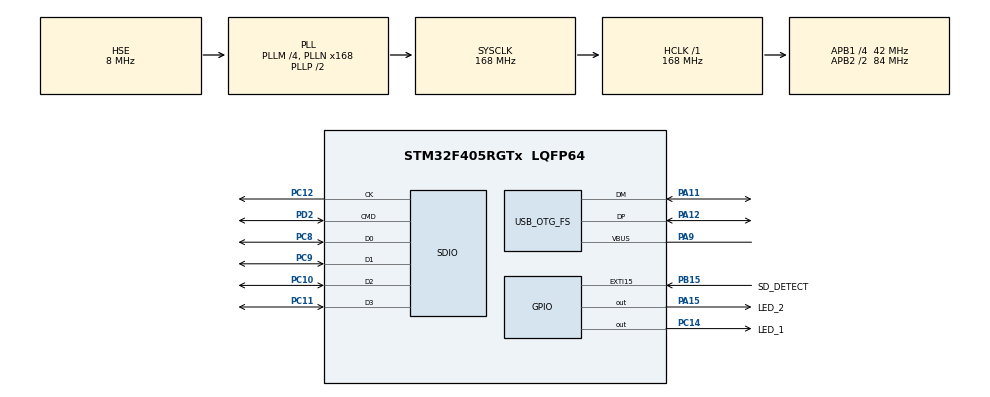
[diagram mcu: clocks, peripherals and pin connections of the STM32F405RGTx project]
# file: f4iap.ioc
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Mcu.Family=STM32F4
Mcu.Name=STM32F405RGTx
Mcu.Package=LQFP64
NVIC.EXTI15_10_IRQn=true\:2\:0\:true\:false\:true\:true
NVIC.OTG_FS_IRQn=true\:1\:0\:true\:false\:true\:true
NVIC.PriorityGroup=NVIC_PRIORITYGROUP_4
NVIC.SDIO_IRQn=true\:0\:0\:false\:false\:true\:true
PA11.Mode=Device_Only
PA11.Signal=USB_OTG_FS_DM
PA12.Mode=Device_Only
PA12.Signal=USB_OTG_FS_DP
PA15.GPIO_Label=LED_2
PA15.Signal=GPIO_Output
PA9.Mode=Activate_VBUS
PA9.Signal=USB_OTG_FS_VBUS
PB15.GPIO_Label=SD_DETECT
PB15.Signal=GPXTI15
PC10.Mode=SD_4_bits_Wide_bus
PC10.Signal=SDIO_D2
PC11.Mode=SD_4_bits_Wide_bus
PC11.Signal=SDIO_D3
PC12.Mode=SD_4_bits_Wide_bus
PC12.Signal=SDIO_CK
PC14-OSC32_IN.GPIO_Label=LED_1
PC14-OSC32_IN.Signal=GPIO_Output
PC8.Mode=SD_4_bits_Wide_bus
PC8.Signal=SDIO_D0
PC9.Mode=SD_4_bits_Wide_bus
PC9.Signal=SDIO_D1
PD2.Mode=SD_4_bits_Wide_bus
PD2.Signal=SDIO_CMD
PH0-OSC_IN.Mode=HSE-External-Oscillator
PH0-OSC_IN.Signal=RCC_OSC_IN
PH1-OSC_OUT.Mode=HSE-External-Oscillator
PH1-OSC_OUT.Signal=RCC_OSC_OUT
ProjectManager.HeapSize=0x200
ProjectManager.StackSize=0x400
ProjectManager.TargetToolchain=SW4STM32
RCC.48MHZClocksFreq_Value=48000000
RCC.AHBFreq_Value=168000000
RCC.APB1CLKDivider=RCC_HCLK_DIV4
RCC.APB1Freq_Value=42000000
RCC.APB1TimFreq_Value=84000000
RCC.APB2CLKDivider=RCC_HCLK_DIV2
RCC.APB2Freq_Value=84000000
RCC.APB2TimFreq_Value=168000000
RCC.CortexFreq_Value=168000000
RCC.HCLKFreq_Value=168000000
RCC.HSE_VALUE=8000000
RCC.HSI_VALUE=16000000
RCC.LSE_VALUE=32768
RCC.PLLM=4
RCC.PLLN=168
RCC.PLLQ=7
RCC.SYSCLKFreq_VALUE=168000000
RCC.SYSCLKSource=RCC_SYSCLKSOURCE_PLLCLK
RCC.VCOOutputFreq_Value=336000000
SDIO.ClockDiv=0
USB_DEVICE.CLASS_NAME_FS=MSC
USB_DEVICE.VirtualMode-MSC_FS=Msc
USB_DEVICE.VirtualModeFS=Msc_FS
USB_OTG_FS.VirtualMode=Device_Only
VP_FATFS_VS_SDIO.Mode=SDIO
VP_USB_DEVICE_VS_USB_DEVICE_MSC_FS.Mode=MSC_FS
board=f4iap

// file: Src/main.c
/**
  ******************************************************************************
  * File Name          : main.c
  * Description        : Main program body
  ******************************************************************************
  * This notice applies to any and all portions of this file
  * that are not between comment pairs USER CODE BEGIN and
  * USER CODE END. Other portions of this file, whether
  * inserted by the user or by software development tools
  * are owned by their respective copyright owners.
  *
  * Copyright (c) 2017 STMicroelectronics International N.V.
  * All rights reserved.
  *
  * Redistribution and use in source and binary forms, with or without
  * modification, are permitted, provided that the following conditions are met:
  *
  * 1. Redistribution of source code must retain the above copyright notice,
  *    this list of conditions and the following disclaimer.
  * 2. Redistributions in binary form must reproduce the above copyright notice,
  *    this list of conditions and the following disclaimer in the documentation
  *    and/or other materials provided with the distribution.
  * 3. Neither the name of STMicroelectronics nor the names of other
  *    contributors to this software may be used to endorse or promote products
  *    derived from this software without specific written permission.
  * 4. This software, including modifications and/or derivative works of this
  *    software, must execute solely and exclusively on microcontroller or
  *    microprocessor devices manufactured by or for STMicroelectronics.
  * 5. Redistribution and use of this software other than as permitted under
  *    this license is void and will automatically terminate your rights under
  *    this license.
  *
  * THIS SOFTWARE IS PROVIDED BY STMICROELECTRONICS AND CONTRIBUTORS "AS IS"
  * AND ANY EXPRESS, IMPLIED OR STATUTORY WARRANTIES, INCLUDING, BUT NOT
  * LIMITED TO, THE IMPLIED WARRANTIES OF MERCHANTABILITY, FITNESS FOR A
  * PARTICULAR PURPOSE AND NON-INFRINGEMENT OF THIRD PARTY INTELLECTUAL PROPERTY
  * RIGHTS ARE DISCLAIMED TO THE FULLEST EXTENT PERMITTED BY LAW. IN NO EVENT
  * SHALL STMICROELECTRONICS OR CONTRIBUTORS BE LIABLE FOR ANY DIRECT, INDIRECT,
  * INCIDENTAL, SPECIAL, EXEMPLARY, OR CONSEQUENTIAL DAMAGES (INCLUDING, BUT NOT
  * LIMITED TO, PROCUREMENT OF SUBSTITUTE GOODS OR SERVICES; LOSS OF USE, DATA,
  * OR PROFITS; OR BUSINESS INTERRUPTION) HOWEVER CAUSED AND ON ANY THEORY OF
  * LIABILITY, WHETHER IN CONTRACT, STRICT LIABILITY, OR TORT (INCLUDING
  * NEGLIGENCE OR OTHERWISE) ARISING IN ANY WAY OUT OF THE USE OF THIS SOFTWARE,
  * EVEN IF ADVISED OF THE POSSIBILITY OF SUCH DAMAGE.
  *
  ******************************************************************************
  */
#include "main.h"
#include "stm32f4xx_hal.h"
#include "fatfs.h"
#include "sdio.h"
#include "usb_device.h"
#include "gpio.h"

/* USER CODE BEGIN Includes */
#include "config.h"
#include "flash_if.h"
#include "command.h"
/* USER CODE END Includes */

/* USER CODE BEGIN PV */
/* Private variables ---------------------------------------------------------*/
typedef (*pFunction) (void);

pFunction   JumpToApplication;
uint32_t    JumpAddress;
uint32_t  volatile  FlashProtection = 0;

char filename[] = "0:/firmware.bin";
char logfile[] = "0:/bootlog.txt";

FATFS SDFat;
FIL FirFile;
/* USER CODE END PV */

void SystemClock_Config(void);

/* USER CODE BEGIN PFP */
/* Private function prototypes -----------------------------------------------*/
void RunApplication(void);
/* USER CODE END PFP */

int main(void)
{

  /* MCU Configuration----------------------------------------------------------*/

  /* Reset of all peripherals, Initializes the Flash interface and the Systick. */
  HAL_Init();

  /* Configure the system clock */
  SystemClock_Config();

  /* Initialize all configured peripherals */
  MX_GPIO_Init();

  /* USER CODE BEGIN 2 */
  //Link uSD driver and look for firmware file.
  FLASH_If_Init();

  HAL_GPIO_WritePin(LED0_Port, LED0_Pin, GPIO_PIN_SET);
  HAL_GPIO_WritePin(LED1_Port, LED1_Pin, GPIO_PIN_SET);
  //Switch check
  if (HAL_GPIO_ReadPin(SD_SW_Port, SD_SW_Pin) == GPIO_PIN_RESET) {
	  while (HAL_GPIO_ReadPin(SD_SW_Port, SD_SW_Pin) == GPIO_PIN_RESET) {
			HAL_GPIO_TogglePin(LED0_Port, LED0_Pin);
			HAL_Delay(100);
	  }
USB_MSD:
	  MX_SDIO_SD_Init();
	  MX_USB_DEVICE_Init();
	  HAL_GPIO_WritePin(LED0_Port, LED0_Pin, GPIO_PIN_SET);
	  while (1) {
		//VBus is high - MSC Mode. Wait until device is unplugged.
		HAL_GPIO_TogglePin(LED1_Port, LED1_Pin);
		HAL_Delay(100);
		if (HAL_GPIO_ReadPin(SD_SW_Port, SD_SW_Pin) == GPIO_PIN_RESET) {
			break;
		}
	  }
  } else {
	  volatile uint32_t addr = (*(__IO uint32_t*)APPLICATION_ADDRESS) & 0x2FFE0000;
	  if (addr != 0x10010000) {
		  goto USB_MSD;
	  }
  }
  //Clean after USB
  HAL_Delay(1000);
  HAL_GPIO_WritePin(LED1_Port, LED1_Pin, GPIO_PIN_SET);

  MX_FATFS_Init();
  //Mount FS
  if(f_mount(&SDFat, "0:/", 0)) {
    HAL_Delay(100);
    RunApplication();
  }
  if (f_stat(filename, NULL)) {
    //Go to user app
    FATFS_UnLinkDriver(SDPath);
    RunApplication();
  }
  FlashProtection = FLASH_If_GetWriteProtectionStatus();
  if (FlashProtection) {
  	FLASH_If_WriteProtectionConfig(FLASHIF_WRP_DISABLE);
  }
  HAL_GPIO_WritePin(LED1_Port, LED1_Pin, GPIO_PIN_RESET);
  COMMAND_DOWNLOAD(&FirFile, filename);
  HAL_GPIO_WritePin(LED1_Port, LED1_Pin, GPIO_PIN_SET);
  f_close(&FirFile);
  f_unlink(filename);
  NVIC_SystemReset();
  /* USER CODE END 2 */

  /* Infinite loop */
  while (1)
  {

  }

}

/** System Clock Configuration
*/
void SystemClock_Config(void)
{

  RCC_OscInitTypeDef RCC_OscInitStruct;
  RCC_ClkInitTypeDef RCC_ClkInitStruct;

    /**Configure the main internal regulator output voltage
    */
  __HAL_RCC_PWR_CLK_ENABLE();

  __HAL_PWR_VOLTAGESCALING_CONFIG(PWR_REGULATOR_VOLTAGE_SCALE1);

    /**Initializes the CPU, AHB and APB busses clocks
    */
  RCC_OscInitStruct.OscillatorType = RCC_OSCILLATORTYPE_HSE;
  RCC_OscInitStruct.HSEState = RCC_HSE_ON;
  RCC_OscInitStruct.PLL.PLLState = RCC_PLL_ON;
  RCC_OscInitStruct.PLL.PLLSource = RCC_PLLSOURCE_HSE;
  RCC_OscInitStruct.PLL.PLLM = 4;
  RCC_OscInitStruct.PLL.PLLN = 168;
  RCC_OscInitStruct.PLL.PLLP = RCC_PLLP_DIV2;
  RCC_OscInitStruct.PLL.PLLQ = 7;
  if (HAL_RCC_OscConfig(&RCC_OscInitStruct) != HAL_OK)
  {
    _Error_Handler(__FILE__, __LINE__);
  }

    /**Initializes the CPU, AHB and APB busses clocks
    */
  RCC_ClkInitStruct.ClockType = RCC_CLOCKTYPE_HCLK|RCC_CLOCKTYPE_SYSCLK
                              |RCC_CLOCKTYPE_PCLK1|RCC_CLOCKTYPE_PCLK2;
  RCC_ClkInitStruct.SYSCLKSource = RCC_SYSCLKSOURCE_PLLCLK;
  RCC_ClkInitStruct.AHBCLKDivider = RCC_SYSCLK_DIV1;
  RCC_ClkInitStruct.APB1CLKDivider = RCC_HCLK_DIV4;
  RCC_ClkInitStruct.APB2CLKDivider = RCC_HCLK_DIV2;

  if (HAL_RCC_ClockConfig(&RCC_ClkInitStruct, FLASH_LATENCY_5) != HAL_OK)
  {
    _Error_Handler(__FILE__, __LINE__);
  }

    /**Configure the Systick interrupt time
    */
  HAL_SYSTICK_Config(HAL_RCC_GetHCLKFreq()/1000);

    /**Configure the Systick
    */
  HAL_SYSTICK_CLKSourceConfig(SYSTICK_CLKSOURCE_HCLK);

  /* SysTick_IRQn interrupt configuration */
  HAL_NVIC_SetPriority(SysTick_IRQn, 0, 0);
}

/* USER CODE BEGIN 4 */
/**
  * @brief  This function runs a previously loaded application
  * @param  None
  * @retval None
  */
void RunApplication(void)
{
  /* Test if user code is programmed starting from address "APPLICATION_ADDRESS" */
	volatile uint32_t addr = (*(__IO uint32_t*)APPLICATION_ADDRESS) & 0x2FFE0000;
  if (addr == 0x10010000) //Stack located at CCM on F4
  {
	/* Disable interrupts */
	HAL_NVIC_DisableIRQ(SDIO_IRQn);
	HAL_NVIC_DisableIRQ(EXTI15_10_IRQn);
	HAL_NVIC_DisableIRQ(OTG_FS_IRQn);
	__disable_irq();

	/* Jump to user application */
    JumpAddress = *(__IO uint32_t*) (APPLICATION_ADDRESS + 4);
    JumpToApplication = (pFunction) JumpAddress;
    /* Initialize user application's Stack Pointer */
#if   (defined ( __GNUC__ ))
    /* Compensation as the Stack Pointer is placed at the very end of RAM */
    __set_MSP((*(__IO uint32_t*) APPLICATION_ADDRESS) - 64);
#else  /* (defined  (__GNUC__ )) */
    __set_MSP(*(__IO uint32_t*) APPLICATION_ADDRESS);
#endif /* (defined  (__GNUC__ )) */

    JumpToApplication();
  }
  else
  {
	HAL_GPIO_WritePin(LED_2_GPIO_Port, LED_2_Pin, GPIO_PIN_RESET);
	HAL_Delay(5000);
    NVIC_SystemReset();
  }
}
/* USER CODE END 4 */

void _Error_Handler(char * file, int line)
{
  while(1)
  {
  }
}

/************************ (C) COPYRIGHT STMicroelectronics *****END OF FILE****/
